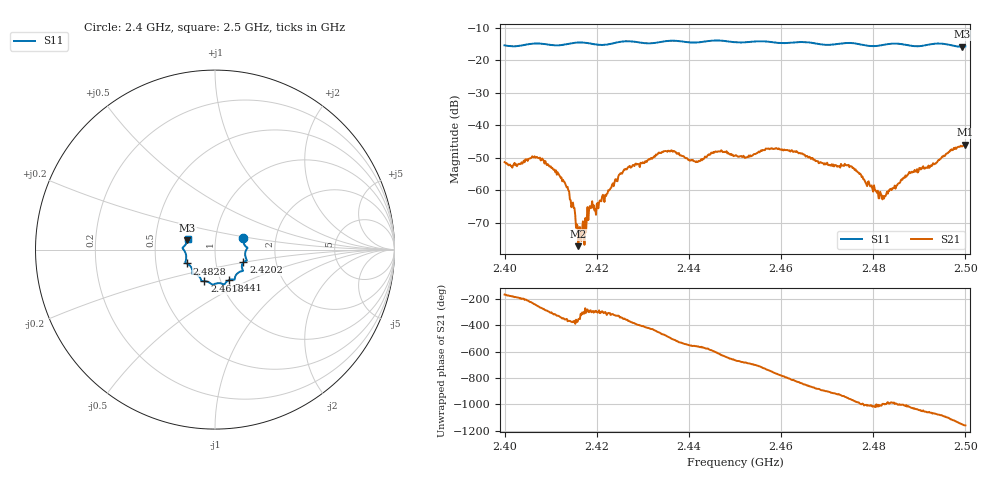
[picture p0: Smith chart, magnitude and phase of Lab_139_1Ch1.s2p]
# Hz S RI R 50
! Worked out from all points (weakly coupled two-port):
!   601 points, 2.4 GHz to 2.5 GHz, reference 50 ohm
!   highest |S21| = -45.95 dB at 2.5 GHz (marker M1); lowest = -77.2 dB at 2.416 GHz (marker M2)
!   lowest |S11| = -15.8 dB at 2.4993 GHz (marker M3), VSWR 1.39, Z = 36.5 + j3.84 ohm
!   |S11| at or under -10 dB: start of sweep to end of sweep
!   S12 and S22 are empty: the file has one direction only
!   S11 on the Smith chart (normalised r, x): 2.4 GHz: 1.36, +0.18; 2.4202 GHz: 1.36, -0.20; 2.441 GHz: 1.10, -0.39; 2.4618 GHz: 0.84, -0.30; 2.4828 GHz: 0.72, -0.11; 2.5 GHz: 0.73, +0.09
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2.4e9  0.1575 0.0629  -0.00264 -0.000587  0 0  0 0
2.4065e9  0.1804 0.011  -0.00164 0.00289  0 0  0 0
2.410667e9  0.1696 -0.0127  0.00154 0.00138  0 0  0 0
2.4135e9  0.1712 -0.0446  0.00109 0.000153  0 0  0 0
2.416e9  0.1778 -0.059  0.000137 1.35e-05  0 0  0 0
2.416667e9  0.1777 -0.06  0.000131 0.000104  0 0  0 0
2.417167e9  0.1766 -0.0607  0.000132 0.000219  0 0  0 0
2.4185e9  0.1701 -0.063  0.000185 0.00054  0 0  0 0
2.420167e9  0.1583 -0.0708  0.00036 0.000529  0 0  0 0
2.426333e9  0.1568 -0.1175  0.00214 7.72e-05  0 0  0 0
2.433333e9  0.1123 -0.151  -0.000139 -0.00371  0 0  0 0
2.441e9  0.0786 -0.1696  -0.0027 0.00078  0 0  0 0
2.446667e9  0.0492 -0.1949  -0.0007 0.00389  0 0  0 0
2.45e9  0.0286 -0.1871  0.00198 0.00277  0 0  0 0
2.461833e9  -0.0593 -0.1755  0.000374 -0.0041  0 0  0 0
2.466667e9  -0.0778 -0.1682  -0.00266 -0.00165  0 0  0 0
2.475e9  -0.1266 -0.1342  -0.0012 0.00202  0 0  0 0
2.481667e9  -0.1483 -0.082  0.000302 0.000819  0 0  0 0
2.482833e9  -0.1575 -0.0773  0.000108 0.000864  0 0  0 0
2.483333e9  -0.1605 -0.0759  4.29e-05 0.000993  0 0  0 0
2.499333e9  -0.1533 0.0512  0.00146 -0.00451  0 0  0 0
2.5e9  -0.1518 0.0608  0.00091 -0.00496  0 0  0 0
